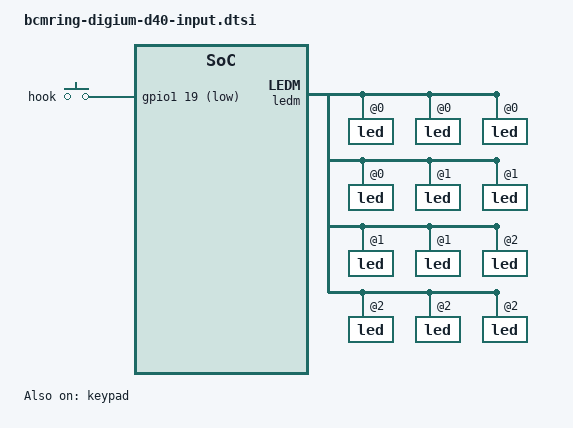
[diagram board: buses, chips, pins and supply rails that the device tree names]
// SPDX-License-Identifier: (GPL-2.0-only OR BSD-2-Clause)
/*
 * Digium/Sangoma D40 and D45: keypad, hookswitch, and lamps.  FIRST DRAFT,
 * untested.
 *
 * Generated from the D40 vendor kernel (Linux 2.6.27.18):
 * BCMRING_CUSTOM_keypad_keymap (47 entries), the LED label table, and
 * the ledm/keypad platform data.
 * The D40 and D45 vendor kernels carry identical tables.
 *
 * Key codes: digium-keys.h keeps the vendor ASCII codes unless
 * DIGIUM_KEYS_PROPOSED is defined before this file is included.  The DGK_
 * names are the functions found by pressing the keys on a D60, a D40, and
 * a D50.
 */

#include <dt-bindings/leds/common.h>
#include "digium-keys.h"

&pinmux {
	/* Keypad: columns on GPIO 43, 44, 45, 46, 47, 48, 49, rows on GPIO 52, 53, 54, 55, 56, 57, 58, function 1. */
	keypad_pins: keypad-pins {
		pinctrl-single,bits =
			<0x14 0x11111000 0xfffff000>,
			<0x18 0x11110011 0xffff00ff>,
			<0x1c 0x00000111 0x00000fff>;
	};

	/* LED matrix: columns on GPIO 0..7, rows on GPIO 16..20, function 5. */
	ledm_pins: ledm-pins {
		pinctrl-single,bits =
			<0x00 0x55555555 0xffffffff>,
			<0x08 0x00055555 0x000fffff>;
	};
};

&keypad {
	pinctrl-names = "default";
	pinctrl-0 = <&keypad_pins>;
	keypad,num-rows = <7>;
	keypad,num-columns = <7>;
	status = "okay";

	/* MATRIX_KEY(row, column, code); vendor scan code = (row << 4) | column. */
	linux,keymap = <
		MATRIX_KEY(0, 0, DGK_MUTE)	/* scan 0x00, vendor 'm' (109) */
		MATRIX_KEY(0, 1, DGK_SPEAKER)	/* scan 0x01, vendor 'f' (102) */
		MATRIX_KEY(0, 2, DGK_HEADSET)	/* scan 0x02, vendor 'g' (103) */
		MATRIX_KEY(0, 3, DGK_VOLUP)	/* scan 0x03, vendor '>' (62) */
		MATRIX_KEY(0, 4, DGK_VOLDOWN)	/* scan 0x04, vendor '<' (60) */
		MATRIX_KEY(0, 5, DGK_BLF8)	/* scan 0x05, vendor 'n' (110) */
		MATRIX_KEY(0, 6, DGK_BLF1)	/* scan 0x06, vendor 'w' (119) */
		MATRIX_KEY(1, 0, DGK_TRANSFER)	/* scan 0x10, vendor 't' (116) */
		MATRIX_KEY(1, 1, DGK_SOFT1)	/* scan 0x11, vendor '(' (40) */
		MATRIX_KEY(1, 2, DGK_POUND)	/* scan 0x12, vendor '#' (35) */
		MATRIX_KEY(1, 3, DGK_0)	/* scan 0x13, vendor '0' (48) */
		MATRIX_KEY(1, 4, DGK_STAR)	/* scan 0x14, vendor '*' (42) */
		MATRIX_KEY(1, 5, DGK_BLF9)	/* scan 0x15, vendor 'o' (111) */
		MATRIX_KEY(1, 6, DGK_BLF2)	/* scan 0x16, vendor 'x' (120) */
		MATRIX_KEY(2, 0, DGK_MSGS)	/* scan 0x20, vendor 'a' (97) */
		MATRIX_KEY(2, 1, DGK_SOFT2)	/* scan 0x21, vendor 'c' (99) */
		MATRIX_KEY(2, 2, DGK_9)	/* scan 0x22, vendor '9' (57) */
		MATRIX_KEY(2, 3, DGK_8)	/* scan 0x23, vendor '8' (56) */
		MATRIX_KEY(2, 4, DGK_7)	/* scan 0x24, vendor '7' (55) */
		MATRIX_KEY(2, 5, DGK_BLF10)	/* scan 0x25, vendor 'p' (112) */
		MATRIX_KEY(2, 6, DGK_BLF3)	/* scan 0x26, vendor 'y' (121) */
		MATRIX_KEY(3, 0, DGK_HOLD)	/* scan 0x30, vendor 'h' (104) */
		MATRIX_KEY(3, 1, DGK_SOFT3)	/* scan 0x31, vendor 'e' (101) */
		MATRIX_KEY(3, 2, DGK_6)	/* scan 0x32, vendor '6' (54) */
		MATRIX_KEY(3, 3, DGK_5)	/* scan 0x33, vendor '5' (53) */
		MATRIX_KEY(3, 4, DGK_4)	/* scan 0x34, vendor '4' (52) */
		MATRIX_KEY(3, 5, DGK_INFO)	/* scan 0x35, vendor 'q' (113) */
		MATRIX_KEY(3, 6, DGK_BLF4)	/* scan 0x36, vendor 'z' (122) */
		MATRIX_KEY(4, 0, DGK_REDIAL)	/* scan 0x40, vendor 'd' (100) */
		MATRIX_KEY(4, 1, DGK_SOFT4)	/* scan 0x41, vendor ')' (41) */
		MATRIX_KEY(4, 2, DGK_3)	/* scan 0x42, vendor '3' (51) */
		MATRIX_KEY(4, 3, DGK_2)	/* scan 0x43, vendor '2' (50) */
		MATRIX_KEY(4, 4, DGK_1)	/* scan 0x44, vendor '1' (49) */
		MATRIX_KEY(4, 5, DGK_CONF)	/* scan 0x45, vendor 'r' (114) */
		MATRIX_KEY(4, 6, DGK_BLF5)	/* scan 0x46, vendor 'A' (65) */
		MATRIX_KEY(5, 0, DGK_UP)	/* scan 0x50, vendor 'U' (85) */
		MATRIX_KEY(5, 1, DGK_DOWN)	/* scan 0x51, vendor 'D' (68) */
		MATRIX_KEY(5, 2, DGK_LEFT)	/* scan 0x52, vendor 'L' (76) */
		MATRIX_KEY(5, 3, DGK_RIGHT)	/* scan 0x53, vendor 'R' (82) */
		MATRIX_KEY(5, 4, DGK_LINE4)	/* scan 0x54, vendor 'k' (107) */
		MATRIX_KEY(5, 5, DGK_LINE3)	/* scan 0x55, vendor 'u' (117) */
		MATRIX_KEY(5, 6, DGK_BLF6)	/* scan 0x56, vendor 'F' (70) */
		MATRIX_KEY(6, 0, DGK_CANCEL)	/* scan 0x60, vendor 'b' (98) */
		MATRIX_KEY(6, 1, DGK_SELECT)	/* scan 0x61, vendor 'C' (67) */
		MATRIX_KEY(6, 2, DGK_LINE2)	/* scan 0x62, vendor 'i' (105) */
		MATRIX_KEY(6, 3, DGK_LINE1)	/* scan 0x63, vendor 'j' (106) */
		MATRIX_KEY(6, 5, DGK_BLF7)	/* scan 0x65, vendor 'v' (118) */
	>;
};

/ {
	hook-switch {
		compatible = "gpio-keys";

		key-hook {
			label = "hook";
			/*
			 * GPIO 51: bank 1, line 19.  Vendor reports !level.
			 * Pressed (low) = handset on the cradle; lifting it
			 * releases the key (key presses on a D60 and a D40).
			 */
			gpios = <&gpio1 19 GPIO_ACTIVE_LOW>;
			linux,code = <DGK_HOOK>;
			/* Vendor: 2 jiffies at HZ=100. */
			debounce-interval = <20>;
		};
	};
};

&ledm {
	pinctrl-names = "default";
	pinctrl-0 = <&ledm_pins>;
	/* The vendor driver always programs a 5 x 8 scan in parallel mode. */
	brcm,scan-rows = <5>;
	brcm,scan-columns = <8>;
	brcm,clk-div = <2>;
	brcm,res-div = <100>;
	brcm,on-time = <2500>;
	brcm,guard-time = <5>;
	status = "okay";


	led@0,0 {
		/* vendor "line0-green", table index 0 */
		reg = <0 0>;
		color = <LED_COLOR_ID_GREEN>;
		function = "line";
		function-enumerator = <0>;
	};

	led@0,1 {
		/* vendor "line0-red", table index 1 */
		reg = <0 1>;
		color = <LED_COLOR_ID_RED>;
		function = "line";
		function-enumerator = <0>;
	};

	led@0,2 {
		/* vendor "line1-green", table index 2 */
		reg = <0 2>;
		color = <LED_COLOR_ID_GREEN>;
		function = "line";
		function-enumerator = <1>;
	};

	led@0,3 {
		/* vendor "line1-red", table index 3 */
		reg = <0 3>;
		color = <LED_COLOR_ID_RED>;
		function = "line";
		function-enumerator = <1>;
	};

	led@1,0 {
		/* vendor "msg-green", table index 8 */
		reg = <1 0>;
		color = <LED_COLOR_ID_GREEN>;
		function = LED_FUNCTION_MAIL;
	};

	led@1,1 {
		/* vendor "msg-red", table index 9 */
		reg = <1 1>;
		color = <LED_COLOR_ID_RED>;
		function = LED_FUNCTION_MAIL;
	};

	led@1,2 {
		/* vendor "mute-green", table index 10 */
		reg = <1 2>;
		color = <LED_COLOR_ID_GREEN>;
		function = LED_FUNCTION_MUTE;
	};

	led@1,3 {
		/* vendor "mute-red", table index 11 */
		reg = <1 3>;
		color = <LED_COLOR_ID_RED>;
		function = LED_FUNCTION_MUTE;
	};

	led@2,0 {
		/* vendor "headset-green", table index 16 */
		reg = <2 0>;
		color = <LED_COLOR_ID_GREEN>;
		function = "headset";
	};

	led@2,1 {
		/* vendor "headset-red", table index 17 */
		reg = <2 1>;
		color = <LED_COLOR_ID_RED>;
		function = "headset";
	};

	led@2,2 {
		/* vendor "speaker-green", table index 18 */
		reg = <2 2>;
		color = <LED_COLOR_ID_GREEN>;
		function = "speaker";
	};

	led@2,3 {
		/* vendor "speaker-red", table index 19 */
		reg = <2 3>;
		color = <LED_COLOR_ID_RED>;
		function = "speaker";
	};

	/*
	 * Positions the vendor table leaves as unnamed SDK placeholders, not
	 * described here: 0,4 (LED4), 0,5 (LED5), 0,6 (LED6), 0,7 (LED7),
	 * 1,4 (LED12), 1,5 (LED13), 1,6 (LED14), 1,7 (LED15),
	 * 2,4 (LED20), 2,5 (LED21), 2,6 (LED22), 2,7 (LED23),
	 * 3,0 (LED24), 3,1 (LED25), 3,2 (LED26), 3,3 (LED27),
	 * 3,4 (LED28), 3,5 (LED29), 3,6 (LED30), 3,7 (LED31),
	 * 4,0 (LED32), 4,1 (LED33), 4,2 (LED34), 4,3 (LED35),
	 * 4,4 (LED36), 4,5 (LED37), 4,6 (LED38), 4,7 (LED39).
	 */
};
